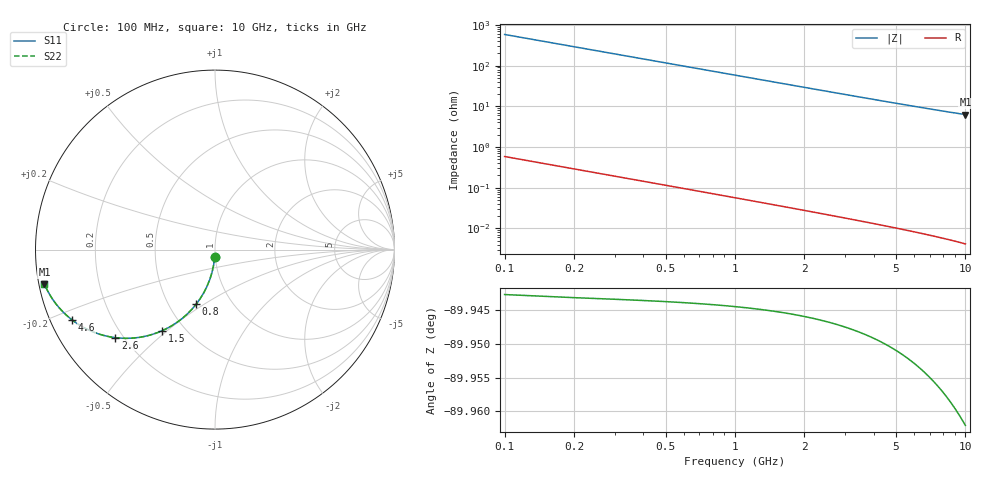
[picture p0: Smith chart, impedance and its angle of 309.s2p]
# Hz S RI R 50.00
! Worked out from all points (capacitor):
!   100 points, 100 MHz to 10 GHz, reference 50 ohm
!   read as one part in shunt: C = 2.73 pF near 100 MHz
!   lowest |Z| = 6.26 ohm at 10 GHz (marker M1)
!   S11 on the Smith chart (normalised r, x): 100 MHz: 0.99, -0.08; 800 MHz: 0.68, -0.46; 1.5 GHz: 0.38, -0.48; 2.6 GHz: 0.17, -0.37; 4.6 GHz: 0.06, -0.23; 10 GHz: 0.02, -0.10
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1e8  -0.0018 -0.0426  0.998 -0.043  0.998 -0.043  -0.0018 -0.0426
2e8  -0.00731 -0.0847  0.9925 -0.0856  0.9925 -0.0856  -0.00731 -0.0847
3e8  -0.0163 -0.1259  0.9835 -0.1272  0.9835 -0.1272  -0.0163 -0.1259
4e8  -0.0287 -0.1657  0.9712 -0.1675  0.9712 -0.1675  -0.0287 -0.1657
5e8  -0.0441 -0.2038  0.9558 -0.206  0.9558 -0.206  -0.0441 -0.2038
6e8  -0.0622 -0.2399  0.9376 -0.2425  0.9376 -0.2425  -0.0622 -0.2399
8e8  -0.1055 -0.305  0.8944 -0.3085  0.8944 -0.3085  -0.1055 -0.305
9e8  -0.1298 -0.3337  0.87 -0.3377  0.87 -0.3377  -0.1298 -0.3337
1.1e9  -0.1822 -0.3831  0.8176 -0.388  0.8176 -0.388  -0.1822 -0.3831
1.3e9  -0.2373 -0.4221  0.7625 -0.4278  0.7625 -0.4278  -0.2373 -0.4221
1.5e9  -0.2929 -0.4513  0.707 -0.4579  0.707 -0.4579  -0.2929 -0.4513
1.8e9  -0.3736 -0.4793  0.6262 -0.4873  0.6262 -0.4873  -0.3736 -0.4793
2.2e9  -0.4712 -0.4938  0.5286 -0.5036  0.5286 -0.5036  -0.4712 -0.4938
2.6e9  -0.5545 -0.4907  0.4452 -0.5023  0.4452 -0.5023  -0.5545 -0.4907
3e9  -0.6238 -0.4772  0.3759 -0.4906  0.3759 -0.4906  -0.6238 -0.4772
3.4e9  -0.6807 -0.4581  0.319 -0.4732  0.319 -0.4732  -0.6807 -0.4581
4e9  -0.7471 -0.4251  0.2526 -0.443  0.2526 -0.443  -0.7471 -0.4251
4.6e9  -0.7965 -0.3916  0.2031 -0.4123  0.2031 -0.4123  -0.7965 -0.3916
5.1e9  -0.8282 -0.365  0.1714 -0.388  0.1714 -0.388  -0.8282 -0.365
6.7e9  -0.8934 -0.2924  0.106 -0.3229  0.106 -0.3229  -0.8934 -0.2924
8.4e9  -0.9301 -0.2343  0.069 -0.2731  0.069 -0.2731  -0.9301 -0.2343
1e10  -0.9501 -0.1924  0.0486 -0.2393  0.0486 -0.2393  -0.9501 -0.1924
